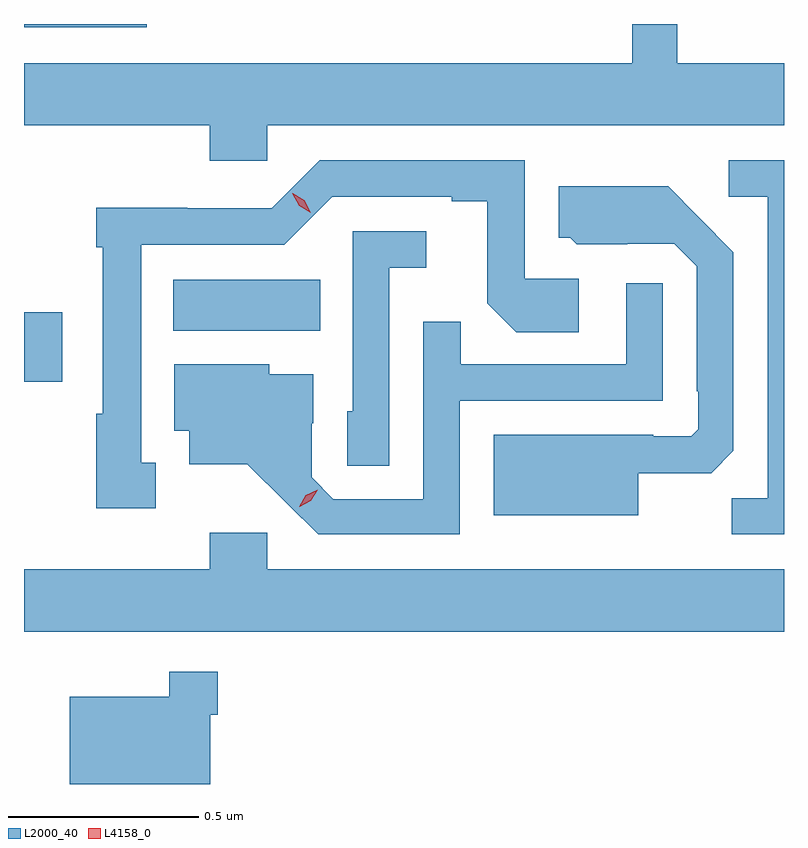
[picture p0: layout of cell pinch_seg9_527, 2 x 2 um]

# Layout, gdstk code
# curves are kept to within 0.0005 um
import gdstk
lib = gdstk.Library(unit=1e-6, precision=1e-09)
def R(c, l, rs):  # rectangles x0, y0, x1, y1
    for r in rs: c.add(gdstk.rectangle(r[:2], r[2:], *l))
def P(c, l, *ps):  # polygons
    for p in ps: c.add(gdstk.Polygon(p, *l))
L2000_40 = (2000, 40)
L4158_0 = (4158, 0)

pinch_seg9_527 = lib.new_cell('pinch_seg9_527')
R(pinch_seg9_527, L2000_40, [(275.282,1189.085,275.383,1189.268), (275.675,1189.22,276.062,1189.354), (275.282,1190.018,275.605,1190.027)])
P(pinch_seg9_527, L2000_40, [(275.922,1189.76),(277.282,1189.76),(277.282,1189.924),(277.001,1189.924),(277.001,1190.027),(276.883,1190.027),(276.883,1189.924),(275.282,1189.924),(275.282,1189.76),(275.771,1189.76),(275.771,1189.667),(275.922,1189.667)],
  [(277.282,1189.668),(277.137,1189.668),(277.137,1189.572),(277.239,1189.572),(277.239,1188.779),(277.144,1188.779),(277.144,1188.684),(277.282,1188.684)],
  [(275.629,1188.873),(275.59,1188.873),(275.59,1189.446),(275.967,1189.446),(276.093,1189.572),(276.407,1189.572),(276.407,1189.56),(276.501,1189.56),(276.501,1189.292),(276.577,1189.216),(276.742,1189.216),(276.742,1189.356),(276.6,1189.356),(276.6,1189.668),(276.06,1189.668),(275.934,1189.542),(275.712,1189.542),(275.712,1189.544),(275.472,1189.544),(275.472,1189.439),(275.489,1189.439),(275.489,1189.001),(275.472,1189.001),(275.472,1188.753),(275.629,1188.753)],
  [(276.898,1188.845),(277.09,1188.845),(277.149,1188.904),(277.149,1189.426),(276.977,1189.6),(276.689,1189.6),(276.689,1189.464),(276.72,1189.464),(276.736,1189.448),(276.87,1189.448),(276.87,1189.449),(276.993,1189.449),(277.053,1189.389),(277.053,1189.06),(277.056,1189.06),(277.056,1188.96),(277.038,1188.942),(276.938,1188.942),(276.938,1188.946),(276.518,1188.946),(276.518,1188.734),(276.898,1188.734)],
  [(276.243,1189.385),(276.34,1189.385),(276.34,1189.482),(276.147,1189.482),(276.147,1189.008),(276.132,1189.008),(276.132,1188.865),(276.243,1188.865)],
  [(276.429,1189.035),(276.963,1189.035),(276.963,1189.345),(276.867,1189.345),(276.867,1189.131),(276.431,1189.131),(276.431,1189.244),(276.333,1189.244),(276.333,1188.777),(276.096,1188.777),(276.039,1188.834),(276.039,1188.976),(276.043,1188.976),(276.043,1189.105),(275.928,1189.105),(275.928,1189.132),(275.678,1189.132),(275.678,1188.956),(275.717,1188.956),(275.717,1188.869),(275.869,1188.869),(276.056,1188.684),(276.429,1188.684)],
  [(277.282,1188.592),(275.922,1188.592),(275.922,1188.688),(275.771,1188.688),(275.771,1188.592),(275.282,1188.592),(275.282,1188.428),(277.282,1188.428)],
  [(275.772,1188.209),(275.792,1188.209),(275.792,1188.322),(275.664,1188.322),(275.664,1188.256),(275.402,1188.256),(275.402,1188.027),(275.772,1188.027)])
P(pinch_seg9_527, L4158_0, [(276.006,1188.757),(276.006,1188.757),(276.024,1188.787),(276.055,1188.802),(276.055,1188.802),(276.055,1188.802),(276.037,1188.772),(276.007,1188.757)],
  [(276.037,1189.53),(276.006,1189.549),(275.988,1189.582),(275.988,1189.582),(275.989,1189.582),(276.02,1189.563),(276.037,1189.53),(276.037,1189.53)])

lib.write_gds('pinch_seg9_527.gds')
